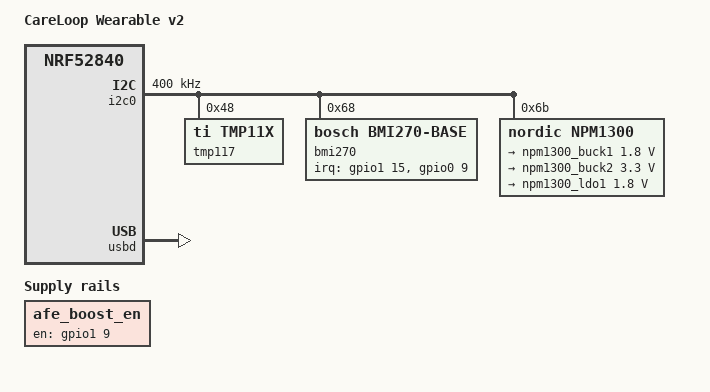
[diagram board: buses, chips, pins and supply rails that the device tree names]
/*
 * Copyright (c) 2026 CareLoop
 * SPDX-License-Identifier: Apache-2.0
 *
 * CareLoop Wearable main .dts file
 * when there is a new hardware revision available, export everything which does
 * not fit to the new revision into a .overlay file
 *
 */

/dts-v1/;
#include <nordic/nrf52840_qiaa.dtsi>
#include <zephyr/dt-bindings/input/input-event-codes.h>
#include <zephyr/dt-bindings/regulator/npm13xx.h>
#include <zephyr/dt-bindings/regulator/nrf5x.h>

/ {
	model = "CareLoop Wearable v2";
	compatible = "careloop,careloop-v2";

	chosen {
		zephyr,sram = &sram0;
		zephyr,flash = &flash0;
		zephyr,code-partition = &slot0_partition;
	};

	/*
	 * TPSM81299 boost (U6) generating +5V for the AFE LEDs, gated by net
	 * BOOST_EN. Not regulator-boot-on: the PPG is out of scope until it
	 * has a driver, so the rail stays off and the pin is driven inactive.
	 * Pin unverified.
	 */
	afe_boost_en: afe-boost-en {
		compatible = "regulator-fixed";
		regulator-name = "afe_boost_5v";
		enable-gpios = <&gpio1 9 GPIO_ACTIVE_HIGH>;
		startup-delay-us = <1000>;
	};
};

/*
 * BMI270 INT2 is on P0.09, an NFC antenna pin at reset, so the pin is dead
 * as a GPIO without this. Written to UICR once by SoC init, which then
 * soft-resets - so the first flash after changing this needs a full erase
 * and a power cycle. Reads back 0xFFFFFFFE at 0x1000120C when applied.
 */
&uicr {
	nfct-pins-as-gpios;
};

/*
 * Do not switch REG1 to DC/DC. L13, the 15 nH DCC inductor, is not fitted
 * on current boards; without it NRF5X_REG_MODE_DCDC can leave the SoC
 * unstable or refusing to start, which presents exactly like a dead board.
 * LDO is already the upstream default - repeated here so the warning is
 * where someone would go looking. CONFIG_SOC_DCDC_NRF52X does the same
 * thing by another route.
 */
&reg1 {
	regulator-initial-mode = <NRF5X_REG_MODE_LDO>;
};

&gpiote {
	status = "okay";
};

&gpio0 {
	status = "okay";
};

&gpio1 {
	status = "okay";
};

&i2c0 {
	compatible = "nordic,nrf-twim";
	status = "okay";
	pinctrl-0 = <&i2c0_default>;
	pinctrl-1 = <&i2c0_sleep>;
	pinctrl-names = "default", "sleep";
	clock-frequency = <I2C_BITRATE_FAST>;

	/* U3 - TMP117 skin temperature. ADD0 to GND => 0x48. */
	tmp117: tmp11x@48 {
		compatible = "ti,tmp11x";
		reg = <0x48>;
	};

	/*
	 * U4 - BMI270 IMU. SDO to GND => 0x68, CSB high => I2C mode.
	 * irq-gpios is [INT1, INT2]; the driver pins any-motion to INT1 and
	 * SENSOR_TRIG_DATA_READY to INT2. Both pins unverified.
	 *
	 * "bosch,bmi270-base" must stay. It has no binding file - it is a
	 * marker the driver tests with DT_INST_NODE_HAS_COMPAT to select the
	 * feature set, and "bosch,bmi270" supplies the actual binding.
	 * Without it the driver picks bmi270_feature_max_fifo, whose
	 * anymo_1/anymo_2 pointers are NULL, and SENSOR_TRIG_MOTION
	 * dereferences them. Address 0 is readable flash here, so nothing
	 * faults - it silently corrupts the sensor's feature config, on
	 * disable as well as enable.
	 *
	 * Changing this changes the config blob uploaded at init; re-run
	 * ./scripts/bringup.sh suite on hardware.
	 */
	bmi270: bmi270@68 {
		compatible = "bosch,bmi270-base", "bosch,bmi270";
		reg = <0x68>;
		irq-gpios = <&gpio1 15 GPIO_ACTIVE_HIGH>,
			    <&gpio0 9 GPIO_ACTIVE_HIGH>;
	};

	/*
	 * U2 - nPM1300. Source of every rail: BUCK1 -> +1V8 (MCU, sensors,
	 * I2C pull-ups), BUCK2 -> +3V3, LDO1 -> +VLDO1 (AFE only). With no
	 * SAADC divider on the board, its VBAT ADC is the only way to read
	 * battery voltage.
	 *
	 * Its interrupt is left undescribed: mfd_npm13xx_init() hard-fails on
	 * any error in that path, so an unverified pin would break every
	 * PMIC-adjacent driver at once.
	 */
	npm1300: pmic@6b {
		compatible = "nordic,npm1300";
		reg = <0x6b>;
		status = "okay";

		regulators {
			compatible = "nordic,npm1300-regulator";

			/*
			 * BUCK1 is the MCU's own supply, so min == max is
			 * load-bearing: regulator_common_init() snaps the
			 * output into range at boot, and a wrong range here
			 * browns out the CPU mid-init.
			 */
			npm1300_buck1: BUCK1 {
				regulator-min-microvolt = <1800000>;
				regulator-max-microvolt = <1800000>;
				regulator-always-on;
				regulator-boot-on;
			};

			npm1300_buck2: BUCK2 {
				regulator-min-microvolt = <3300000>;
				regulator-max-microvolt = <3300000>;
				regulator-boot-on;
			};

			/* AFE supply - left off until the AFE has a driver. */
			npm1300_ldo1: LDO1 {
				regulator-min-microvolt = <1800000>;
				regulator-max-microvolt = <1800000>;
				regulator-allowed-modes = <NPM13XX_LDSW_MODE_LDO>;
				regulator-initial-mode = <NPM13XX_LDSW_MODE_LDO>;
			};
		};

		/*
		 * No thermistor is fitted, hence 0 ohms. Do not add any
		 * thermistor-*-millidegrees threshold: that path divides by
		 * the thermistor resistance.
		 */
		/*
		 * D4, D3 and D2 - three red indicator LEDs, and the only
		 * LEDs on the board that firmware can drive. Anodes sit on
		 * +3V3 (BUCK2); cathodes go straight to the PMIC's
		 * constant-current sinks LED0/LED1/LED2 (pads 25/26/27,
		 * traced in the PCB netlist). There are deliberately no
		 * series resistors - the sink sets the current.
		 *
		 * Host mode means software owns all three. The other two
		 * modes hand an LED to the PMIC's own charging or error
		 * indication, which is a product decision nobody has made
		 * yet; in either of them led_on() returns -EPERM.
		 *
		 * LED1 in afe.kicad_sch is unrelated - that is the SFH7074
		 * PPG emitter, driven by the AFE, and is out of scope.
		 */
		npm1300_leds: leds {
			compatible = "nordic,npm1300-led";
			nordic,led0-mode = "host";
			nordic,led1-mode = "host";
			nordic,led2-mode = "host";
		};

		npm1300_charger: charger {
			compatible = "nordic,npm1300-charger";
			term-microvolt = <4200000>;
			current-microamp = <50000>;
			dischg-limit-microamp = <200000>;
			vbus-limit-microamp = <500000>;
			thermistor-ohms = <0>;
			thermistor-beta = <3380>;
			charging-enable;
		};
	};

	/*
	 * U5, the optical front end, is a MAX86178ENJ+T and is deliberately
	 * absent: no Zephyr or NCS driver exists for it. It also needs both
	 * LDO1 and the +5V boost up before it will ACK. The "ti,afe4404" node
	 * that used to be here came from a stale BOM and matched no part on
	 * the board.
	 */
};

&flash0 {
	partitions {
		compatible = "fixed-partitions";
		#address-cells = <1>;
		#size-cells = <1>;

		boot_partition: partition@0 {
			label = "mcuboot";
			reg = <0x00000000 0x0000c000>;
		};

		slot0_partition: partition@c000 {
			label = "image-0";
			reg = <0x0000c000 0x00072000>;
		};

		slot1_partition: partition@7e000 {
			label = "image-1";
			reg = <0x0007e000 0x00072000>;
		};

		storage_partition: partition@f0000 {
			label = "storage";
			reg = <0x000f0000 0x00008000>;
		};
	};
};

/* USB-C reaches the nPM1300 for charging and CC only - VBUS is not routed
 * to the MCU, so this never enumerates. Kept enabled as before.
 */
zephyr_udc0: &usbd {
	compatible = "nordic,nrf-usbd";
	status = "okay";
};
